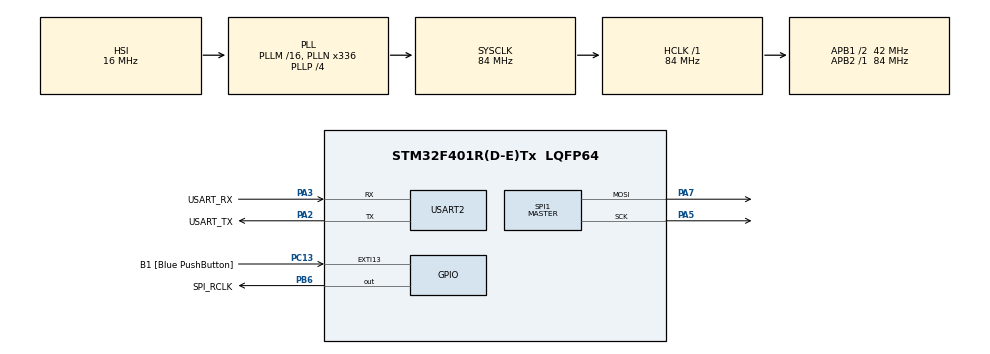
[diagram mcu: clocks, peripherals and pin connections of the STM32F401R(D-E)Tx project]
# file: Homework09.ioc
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Dma.Request0=SPI1_TX
Dma.SPI1_TX.0.Direction=DMA_MEMORY_TO_PERIPH
Dma.SPI1_TX.0.FIFOMode=DMA_FIFOMODE_DISABLE
Dma.SPI1_TX.0.Instance=DMA2_Stream3
Dma.SPI1_TX.0.MemDataAlignment=DMA_MDATAALIGN_BYTE
Dma.SPI1_TX.0.MemInc=DMA_MINC_ENABLE
Dma.SPI1_TX.0.Mode=DMA_NORMAL
Dma.SPI1_TX.0.PeriphDataAlignment=DMA_PDATAALIGN_BYTE
Dma.SPI1_TX.0.PeriphInc=DMA_PINC_DISABLE
Dma.SPI1_TX.0.Priority=DMA_PRIORITY_LOW
Mcu.Family=STM32F4
Mcu.Name=STM32F401R(D-E)Tx
Mcu.Package=LQFP64
NVIC.DMA2_Stream3_IRQn=true\:0\:0\:false\:false\:true\:false\:true\:true
NVIC.PriorityGroup=NVIC_PRIORITYGROUP_4
NVIC.TIM2_IRQn=true\:0\:0\:false\:false\:true\:true\:true\:true
NVIC.TIM3_IRQn=true\:0\:0\:false\:false\:true\:true\:true\:true
PA13.GPIO_Label=TMS
PA13.Mode=Trace_Asynchronous_SW
PA13.Signal=SYS_JTMS-SWDIO
PA14.GPIO_Label=TCK
PA14.Mode=Trace_Asynchronous_SW
PA14.Signal=SYS_JTCK-SWCLK
PA2.GPIO_Label=USART_TX
PA2.GPIO_Mode=GPIO_MODE_AF_PP
PA2.GPIO_PuPd=GPIO_NOPULL
PA2.GPIO_Speed=GPIO_SPEED_FREQ_LOW
PA2.Mode=Asynchronous
PA2.Signal=USART2_TX
PA3.GPIO_Label=USART_RX
PA3.GPIO_Mode=GPIO_MODE_AF_PP
PA3.GPIO_PuPd=GPIO_NOPULL
PA3.GPIO_Speed=GPIO_SPEED_FREQ_LOW
PA3.Mode=Asynchronous
PA3.Signal=USART2_RX
PA5.Mode=TX_Only_Simplex_Unidirect_Master
PA5.Signal=SPI1_SCK
PA7.Mode=TX_Only_Simplex_Unidirect_Master
PA7.Signal=SPI1_MOSI
PB3.GPIO_Label=SWO
PB3.Mode=Trace_Asynchronous_SW
PB3.Signal=SYS_JTDO-SWO
PB6.GPIO_Label=SPI_RCLK
PB6.Signal=GPIO_Output
PC13-ANTI_TAMP.GPIO_Label=B1 [Blue PushButton]
PC13-ANTI_TAMP.GPIO_ModeDefaultEXTI=GPIO_MODE_IT_FALLING
PC13-ANTI_TAMP.GPIO_PuPd=GPIO_NOPULL
PC13-ANTI_TAMP.Signal=GPXTI13
PC14-OSC32_IN.Mode=LSE-External-Oscillator
PC14-OSC32_IN.Signal=RCC_OSC32_IN
PC15-OSC32_OUT.Mode=LSE-External-Oscillator
PC15-OSC32_OUT.Signal=RCC_OSC32_OUT
PH0\ -\ OSC_IN.Mode=HSE-External-Clock-Source
PH0\ -\ OSC_IN.Signal=RCC_OSC_IN
PH1\ -\ OSC_OUT.Mode=HSE-External-Clock-Source
PH1\ -\ OSC_OUT.Signal=RCC_OSC_OUT
ProjectManager.HeapSize=0x200
ProjectManager.StackSize=0x400
ProjectManager.TargetToolchain=STM32CubeIDE
RCC.48MHZClocksFreq_Value=48000000
RCC.AHBFreq_Value=84000000
RCC.APB1CLKDivider=RCC_HCLK_DIV2
RCC.APB1Freq_Value=42000000
RCC.APB1TimFreq_Value=84000000
RCC.APB2Freq_Value=84000000
RCC.APB2TimFreq_Value=84000000
RCC.CortexFreq_Value=84000000
RCC.HCLKFreq_Value=84000000
RCC.HSE_VALUE=8000000
RCC.HSI_VALUE=16000000
RCC.PLLN=336
RCC.PLLP=RCC_PLLP_DIV4
RCC.PLLQ=7
RCC.SYSCLKFreq_VALUE=84000000
RCC.SYSCLKSource=RCC_SYSCLKSOURCE_PLLCLK
RCC.VCOOutputFreq_Value=336000000
SPI1.BaudRatePrescaler=SPI_BAUDRATEPRESCALER_4
SPI1.Direction=SPI_DIRECTION_2LINES
SPI1.Mode=SPI_MODE_MASTER
SPI1.VirtualType=VM_MASTER
TIM2.Period=9999
TIM2.Prescaler=8399
TIM2.TIM_MasterOutputTrigger=TIM_TRGO_UPDATE
TIM3.Period=399
TIM3.Prescaler=839
TIM3.TIM_MasterOutputTrigger=TIM_TRGO_UPDATE
USART2.VirtualMode=VM_ASYNC
VP_TIM2_VS_ClockSourceINT.Mode=Internal
VP_TIM3_VS_ClockSourceINT.Mode=Internal
board=NUCLEO-F401RE

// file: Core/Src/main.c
/* USER CODE BEGIN Header */
/**
  ******************************************************************************
  * @file           : main.c
  * @brief          : Main program body
  ******************************************************************************
  * @attention
  *
  * Copyright (c) 2025 STMicroelectronics.
  * All rights reserved.
  *
  * This software is licensed under terms that can be found in the LICENSE file
  * in the root directory of this software component.
  * If no LICENSE file comes with this software, it is provided AS-IS.
  *
  ******************************************************************************
  */
/* USER CODE END Header */
#include "main.h"

/* USER CODE BEGIN PD */
#define RCLK_PIN GPIOB, GPIO_PIN_6
#define TIM_LETTER (&htim2)
#define TIM_COLUMN (&htim3)

#define COL_COUNT 5
/* USER CODE END PD */

SPI_HandleTypeDef hspi1;
DMA_HandleTypeDef hdma_spi1_tx;

TIM_HandleTypeDef htim2;
TIM_HandleTypeDef htim3;

UART_HandleTypeDef huart2;

/* USER CODE BEGIN PV */
uint8_t six[COL_COUNT] = {62, 73, 73, 73, 70};
uint8_t seven[COL_COUNT] = {64, 64, 67, 76, 112};
uint8_t *letters[] = {six, seven};
int col = 0, letter = 0;
uint8_t data[2];
/* USER CODE END PV */

void SystemClock_Config(void);
static void MX_GPIO_Init(void);
static void MX_DMA_Init(void);
static void MX_USART2_UART_Init(void);
static void MX_SPI1_Init(void);
static void MX_TIM3_Init(void);
static void MX_TIM2_Init(void);

/* USER CODE BEGIN 0 */
void HAL_TIM_PeriodElapsedCallback(TIM_HandleTypeDef *htim)
{
    if (htim == TIM_LETTER) {
    	// change letter
        letter = (letter + 1) % (sizeof(letters) / sizeof(letters[0]));
    }
    if (htim == TIM_COLUMN) {
    	// send {row, column} data
        data[0] = letters[letter][col];
        data[1] = 1 << (4 - col);
        HAL_SPI_Transmit_DMA(&hspi1, data, sizeof(data));

        col = (col + 1) % COL_COUNT;
    }
}

void HAL_SPI_TxCpltCallback(SPI_HandleTypeDef *hspi) {
    if (hspi == &hspi1) {
    	// send rising edge to latch data
    	HAL_GPIO_TogglePin(RCLK_PIN);
    	HAL_GPIO_TogglePin(RCLK_PIN);
    }
}
/* USER CODE END 0 */

int main(void)
{

  /* MCU Configuration--------------------------------------------------------*/

  /* Reset of all peripherals, Initializes the Flash interface and the Systick. */
  HAL_Init();

  /* Configure the system clock */
  SystemClock_Config();

  /* Initialize all configured peripherals */
  MX_GPIO_Init();
  MX_DMA_Init();
  MX_USART2_UART_Init();
  MX_SPI1_Init();
  MX_TIM3_Init();
  MX_TIM2_Init();
  /* USER CODE BEGIN 2 */
  HAL_GPIO_WritePin(RCLK_PIN, GPIO_PIN_RESET);
  HAL_TIM_Base_Start_IT(TIM_COLUMN);
  HAL_TIM_Base_Start_IT(TIM_LETTER);
  /* USER CODE END 2 */

  /* Infinite loop */
  while (1)
  {

  }
}

void SystemClock_Config(void)
{
  RCC_OscInitTypeDef RCC_OscInitStruct = {0};
  RCC_ClkInitTypeDef RCC_ClkInitStruct = {0};

  /** Configure the main internal regulator output voltage
  */
  __HAL_RCC_PWR_CLK_ENABLE();
  __HAL_PWR_VOLTAGESCALING_CONFIG(PWR_REGULATOR_VOLTAGE_SCALE2);

  /** Initializes the RCC Oscillators according to the specified parameters
  * in the RCC_OscInitTypeDef structure.
  */
  RCC_OscInitStruct.OscillatorType = RCC_OSCILLATORTYPE_HSI;
  RCC_OscInitStruct.HSIState = RCC_HSI_ON;
  RCC_OscInitStruct.HSICalibrationValue = RCC_HSICALIBRATION_DEFAULT;
  RCC_OscInitStruct.PLL.PLLState = RCC_PLL_ON;
  RCC_OscInitStruct.PLL.PLLSource = RCC_PLLSOURCE_HSI;
  RCC_OscInitStruct.PLL.PLLM = 16;
  RCC_OscInitStruct.PLL.PLLN = 336;
  RCC_OscInitStruct.PLL.PLLP = RCC_PLLP_DIV4;
  RCC_OscInitStruct.PLL.PLLQ = 7;
  if (HAL_RCC_OscConfig(&RCC_OscInitStruct) != HAL_OK)
  {
    Error_Handler();
  }

  /** Initializes the CPU, AHB and APB buses clocks
  */
  RCC_ClkInitStruct.ClockType = RCC_CLOCKTYPE_HCLK|RCC_CLOCKTYPE_SYSCLK
                              |RCC_CLOCKTYPE_PCLK1|RCC_CLOCKTYPE_PCLK2;
  RCC_ClkInitStruct.SYSCLKSource = RCC_SYSCLKSOURCE_PLLCLK;
  RCC_ClkInitStruct.AHBCLKDivider = RCC_SYSCLK_DIV1;
  RCC_ClkInitStruct.APB1CLKDivider = RCC_HCLK_DIV2;
  RCC_ClkInitStruct.APB2CLKDivider = RCC_HCLK_DIV1;

  if (HAL_RCC_ClockConfig(&RCC_ClkInitStruct, FLASH_LATENCY_2) != HAL_OK)
  {
    Error_Handler();
  }
}

static void MX_SPI1_Init(void)
{

  /* SPI1 parameter configuration*/
  hspi1.Instance = SPI1;
  hspi1.Init.Mode = SPI_MODE_MASTER;
  hspi1.Init.Direction = SPI_DIRECTION_2LINES;
  hspi1.Init.DataSize = SPI_DATASIZE_8BIT;
  hspi1.Init.CLKPolarity = SPI_POLARITY_LOW;
  hspi1.Init.CLKPhase = SPI_PHASE_1EDGE;
  hspi1.Init.NSS = SPI_NSS_SOFT;
  hspi1.Init.BaudRatePrescaler = SPI_BAUDRATEPRESCALER_4;
  hspi1.Init.FirstBit = SPI_FIRSTBIT_MSB;
  hspi1.Init.TIMode = SPI_TIMODE_DISABLE;
  hspi1.Init.CRCCalculation = SPI_CRCCALCULATION_DISABLE;
  hspi1.Init.CRCPolynomial = 10;
  if (HAL_SPI_Init(&hspi1) != HAL_OK)
  {
    Error_Handler();
  }

}

static void MX_TIM2_Init(void)
{

  TIM_ClockConfigTypeDef sClockSourceConfig = {0};
  TIM_MasterConfigTypeDef sMasterConfig = {0};

  htim2.Instance = TIM2;
  htim2.Init.Prescaler = 8399;
  htim2.Init.CounterMode = TIM_COUNTERMODE_UP;
  htim2.Init.Period = 9999;
  htim2.Init.ClockDivision = TIM_CLOCKDIVISION_DIV1;
  htim2.Init.AutoReloadPreload = TIM_AUTORELOAD_PRELOAD_DISABLE;
  if (HAL_TIM_Base_Init(&htim2) != HAL_OK)
  {
    Error_Handler();
  }
  sClockSourceConfig.ClockSource = TIM_CLOCKSOURCE_INTERNAL;
  if (HAL_TIM_ConfigClockSource(&htim2, &sClockSourceConfig) != HAL_OK)
  {
    Error_Handler();
  }
  sMasterConfig.MasterOutputTrigger = TIM_TRGO_UPDATE;
  sMasterConfig.MasterSlaveMode = TIM_MASTERSLAVEMODE_DISABLE;
  if (HAL_TIMEx_MasterConfigSynchronization(&htim2, &sMasterConfig) != HAL_OK)
  {
    Error_Handler();
  }

}

static void MX_TIM3_Init(void)
{

  TIM_ClockConfigTypeDef sClockSourceConfig = {0};
  TIM_MasterConfigTypeDef sMasterConfig = {0};

  htim3.Instance = TIM3;
  htim3.Init.Prescaler = 839;
  htim3.Init.CounterMode = TIM_COUNTERMODE_UP;
  htim3.Init.Period = 399;
  htim3.Init.ClockDivision = TIM_CLOCKDIVISION_DIV1;
  htim3.Init.AutoReloadPreload = TIM_AUTORELOAD_PRELOAD_DISABLE;
  if (HAL_TIM_Base_Init(&htim3) != HAL_OK)
  {
    Error_Handler();
  }
  sClockSourceConfig.ClockSource = TIM_CLOCKSOURCE_INTERNAL;
  if (HAL_TIM_ConfigClockSource(&htim3, &sClockSourceConfig) != HAL_OK)
  {
    Error_Handler();
  }
  sMasterConfig.MasterOutputTrigger = TIM_TRGO_UPDATE;
  sMasterConfig.MasterSlaveMode = TIM_MASTERSLAVEMODE_DISABLE;
  if (HAL_TIMEx_MasterConfigSynchronization(&htim3, &sMasterConfig) != HAL_OK)
  {
    Error_Handler();
  }

}

static void MX_USART2_UART_Init(void)
{

  huart2.Instance = USART2;
  huart2.Init.BaudRate = 115200;
  huart2.Init.WordLength = UART_WORDLENGTH_8B;
  huart2.Init.StopBits = UART_STOPBITS_1;
  huart2.Init.Parity = UART_PARITY_NONE;
  huart2.Init.Mode = UART_MODE_TX_RX;
  huart2.Init.HwFlowCtl = UART_HWCONTROL_NONE;
  huart2.Init.OverSampling = UART_OVERSAMPLING_16;
  if (HAL_UART_Init(&huart2) != HAL_OK)
  {
    Error_Handler();
  }

}

static void MX_DMA_Init(void)
{

  /* DMA controller clock enable */
  __HAL_RCC_DMA2_CLK_ENABLE();

  /* DMA interrupt init */
  /* DMA2_Stream3_IRQn interrupt configuration */
  HAL_NVIC_SetPriority(DMA2_Stream3_IRQn, 0, 0);
  HAL_NVIC_EnableIRQ(DMA2_Stream3_IRQn);

}

static void MX_GPIO_Init(void)
{
  GPIO_InitTypeDef GPIO_InitStruct = {0};

  /* GPIO Ports Clock Enable */
  __HAL_RCC_GPIOC_CLK_ENABLE();
  __HAL_RCC_GPIOH_CLK_ENABLE();
  __HAL_RCC_GPIOA_CLK_ENABLE();
  __HAL_RCC_GPIOB_CLK_ENABLE();

  /*Configure GPIO pin Output Level */
  HAL_GPIO_WritePin(SPI_RCLK_GPIO_Port, SPI_RCLK_Pin, GPIO_PIN_RESET);

  /*Configure GPIO pin : B1_Pin */
  GPIO_InitStruct.Pin = B1_Pin;
  GPIO_InitStruct.Mode = GPIO_MODE_IT_FALLING;
  GPIO_InitStruct.Pull = GPIO_NOPULL;
  HAL_GPIO_Init(B1_GPIO_Port, &GPIO_InitStruct);

  /*Configure GPIO pin : SPI_RCLK_Pin */
  GPIO_InitStruct.Pin = SPI_RCLK_Pin;
  GPIO_InitStruct.Mode = GPIO_MODE_OUTPUT_PP;
  GPIO_InitStruct.Pull = GPIO_NOPULL;
  GPIO_InitStruct.Speed = GPIO_SPEED_FREQ_LOW;
  HAL_GPIO_Init(SPI_RCLK_GPIO_Port, &GPIO_InitStruct);

}

void Error_Handler(void)
{
  __disable_irq();
  while (1)
  {
  }
}
